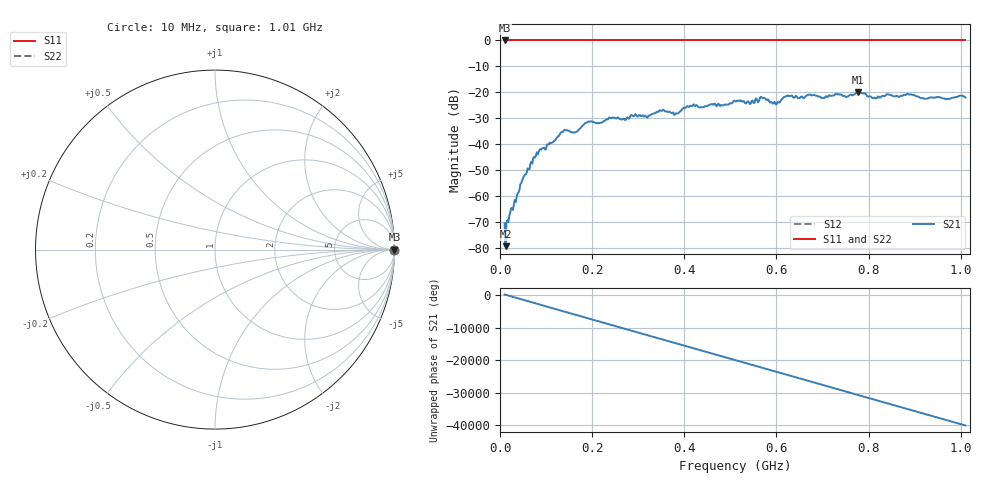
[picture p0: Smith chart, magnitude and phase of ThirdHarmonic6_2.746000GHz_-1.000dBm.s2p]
! 8/17/2025 6:50:40 AM
! C:\ANRITSUVNA\TEMP\TEMP.S2P
! CHANNEL.1
! TR.MEASUREMENT
! RAW.DATA
! RF.CORRECTION.OFF
! AVERAGING.OFF
! IF.BANDWIDTH: 5KHZ
! SWEEPTYPE:  FREQ.SWEEP(Linear)
! Reference Plane Port Info
! PORT:  PORT1  PORT2
! DISTANCE:  0  m  0  m
! TIME:  0  s  0  s
! PHASE.OFFSET:  0  deg.  0  deg.
! LOSS:  0  dB  0  dB
! REF.LOSS:  0  dB  0  dB
! REF.FREQ:  0  Hz  0  Hz
! Power Info
! POWER:  -20  dBm  -20  dBm
! EFF.POWER:  -20  dBm  -20  dBm
! SOURCE.ATTEN:  0  dB  0  dB
! TEST.ATTEN:  0  dB  0  dB
# GHZ S RI R 50.0
! FREQ.GHZ  S11RE  S11IM  S21RE  S21IM  S12RE  S12IM  S22RE  S22IM
!; PortSelection: Port_12
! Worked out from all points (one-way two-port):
!   501 points, 10 MHz to 1.01 GHz, reference 50 ohm
!   highest |S21| = -19.98 dB at 776 MHz (marker M1); lowest = -79.4 dB at 12 MHz (marker M2)
!   lowest |S11| = 0.0 dB at 10 MHz (marker M3)
!   |S11| at or under -10 dB: nowhere
!   |S22| runs from 0.0 to 0.0 dB; largest |S21 - S12| = 1.1
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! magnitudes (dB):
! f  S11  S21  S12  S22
! 10 MHz  0.0  -70.6  0.0  0.0
! 12 MHz  0.0  -79.4  0.0  0.0
! 16 MHz  0.0  -69.4  0.0  0.0
! 20 MHz  0.0  -67.9  0.0  0.0
! 48 MHz  0.0  -54.1  0.0  0.0
! 76 MHz  0.0  -45.2  0.0  0.0
! 136 MHz  0.0  -35.4  0.0  0.0
! 164 MHz  0.0  -35.4  0.0  0.0
! 178 MHz  0.0  -33.1  0.0  0.0
! 194 MHz  0.0  -31.3  0.0  0.0
! 344 MHz  0.0  -27.6  0.0  0.0
! 382 MHz  0.0  -28.1  0.0  0.0
! 416 MHz  0.0  -25.4  0.0  0.0
! 510 MHz  0.0  -23.4  0.0  0.0
! 570 MHz  0.0  -22.2  0.0  0.0
! 596 MHz  0.0  -23.7  0.0  0.0
! 622 MHz  0.0  -21.4  0.0  0.0
! 678 MHz  0.0  -21.1  0.0  0.0
! 776 MHz  0.0  -20.0  0.0  0.0
! 812 MHz  0.0  -22.1  0.0  0.0
! 844 MHz  0.0  -20.9  0.0  0.0
! 1.01 GHz  0.0  -22.0  0.0  0.0
